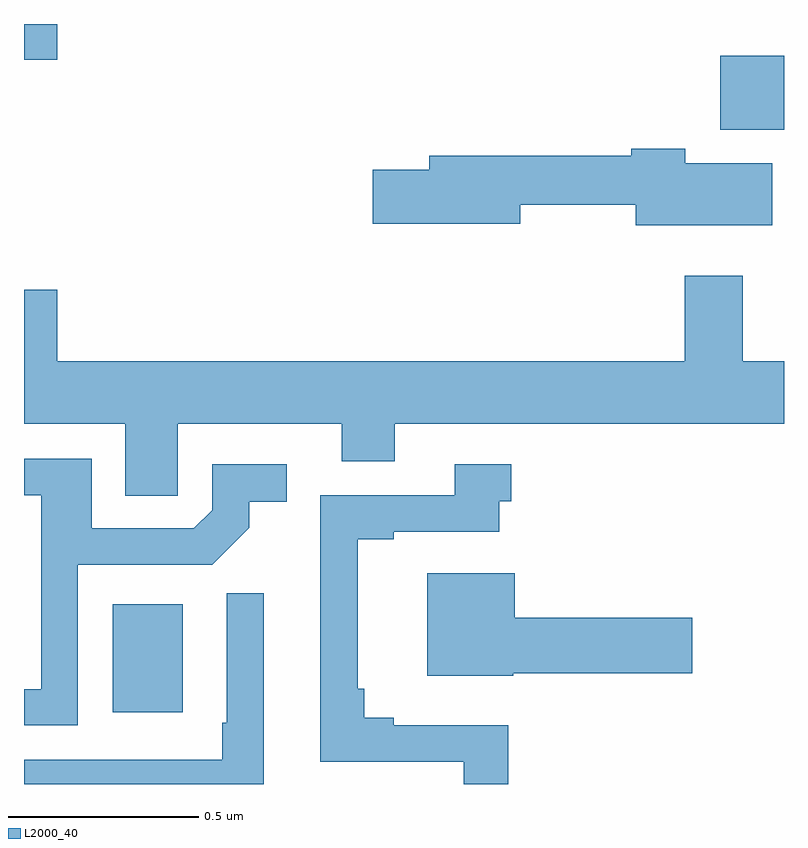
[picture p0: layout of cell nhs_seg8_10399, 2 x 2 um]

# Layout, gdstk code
import gdstk
lib = gdstk.Library(unit=1e-6, precision=1e-09)
def R(c, l, rs):  # rectangles x0, y0, x1, y1
    for r in rs: c.add(gdstk.rectangle(r[:2], r[2:], *l))
def P(c, l, *ps):  # polygons
    for p in ps: c.add(gdstk.Polygon(p, *l))
L2000_40 = (2000, 40)

nhs_seg8_10399 = lib.new_cell('nhs_seg8_10399')
R(nhs_seg8_10399, L2000_40, [(249.233,1101.089,249.418,1101.373), (250.832,1102.622,251,1102.816), (249,1102.806,249.088,1102.9)])
P(nhs_seg8_10399, L2000_40, [(250.969,1102.534),(250.74,1102.534),(250.74,1102.572),(250.598,1102.572),(250.598,1102.553),(250.067,1102.553),(250.067,1102.517),(249.918,1102.517),(249.918,1102.375),(250.306,1102.375),(250.306,1102.425),(250.61,1102.425),(250.61,1102.37),(250.969,1102.37)],
  [(249.405,1101.848),(249.836,1101.848),(249.836,1101.749),(249.976,1101.749),(249.976,1101.848),(251,1101.848),(251,1102.012),(250.891,1102.012),(250.891,1102.237),(250.739,1102.237),(250.739,1102.012),(249.088,1102.012),(249.088,1102.201),(249,1102.201),(249,1101.848),(249.266,1101.848),(249.266,1101.658),(249.405,1101.658)],
  [(249.141,1101.477),(249.495,1101.477),(249.593,1101.575),(249.593,1101.643),(249.691,1101.643),(249.691,1101.741),(249.495,1101.741),(249.495,1101.621),(249.447,1101.573),(249.178,1101.573),(249.178,1101.756),(249,1101.756),(249,1101.66),(249.045,1101.66),(249.045,1101.15),(249,1101.15),(249,1101.054),(249.141,1101.054)],
  [(250.274,1101.055),(249.973,1101.055),(249.973,1101.074),(249.896,1101.074),(249.896,1101.151),(249.878,1101.151),(249.878,1101.544),(249.973,1101.544),(249.973,1101.564),(250.25,1101.564),(250.25,1101.644),(250.282,1101.644),(250.282,1101.741),(250.133,1101.741),(250.133,1101.66),(249.779,1101.66),(249.779,1100.958),(250.157,1100.958),(250.157,1100.9),(250.274,1100.9)],
  [(250.287,1101.191),(250.759,1101.191),(250.759,1101.338),(250.291,1101.338),(250.291,1101.454),(250.061,1101.454),(250.061,1101.185),(250.287,1101.185)],
  [(249.631,1101.402),(249.534,1101.402),(249.534,1101.061),(249.522,1101.061),(249.522,1100.964),(249,1100.964),(249,1100.9),(249.631,1100.9)])

lib.write_gds('nhs_seg8_10399.gds')
